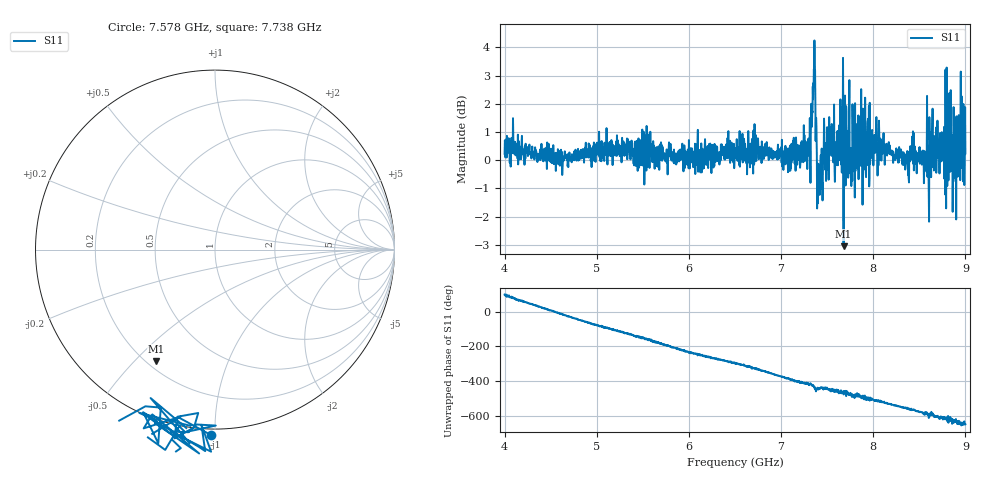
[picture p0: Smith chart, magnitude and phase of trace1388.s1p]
! Created with skrf 1.8.0 (http://scikit-rf.org).
# Hz S RI R 50.0
!freq ReS11 ImS11
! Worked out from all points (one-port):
!   1601 points, 4 GHz to 9 GHz, reference 50 ohm
!   lowest |S11| = -3.1 dB at 7.678 GHz (marker M1), VSWR 5.75, Z = 11.7 - j28.9 ohm
!   |S11| at or under -10 dB: nowhere
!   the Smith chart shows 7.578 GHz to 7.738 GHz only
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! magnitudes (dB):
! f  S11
! 4 GHz  0.2
! 4.625 GHz  -0.5
! 5.25 GHz  0.1
! 5.875 GHz  0.0
! 6.5 GHz  0.3
! 7.125 GHz  0.6
! 7.294 GHz  0.2
! 7.347 GHz  2.2
! 7.362 GHz  4.2
! 7.397 GHz  -1.5
! 7.412 GHz  -0.4
! 7.538 GHz  0.3
! 7.591 GHz  0.6
! 7.65 GHz  1.1
! 7.678 GHz  -3.1
! 7.75 GHz  0.4
! 7.856 GHz  1.1
! 7.909 GHz  0.2
! 7.928 GHz  0.8
! 8.375 GHz  -0.2
! 8.428 GHz  0.0
! 8.581 GHz  0.4
! 8.634 GHz  0.7
! 8.766 GHz  0.8
! 8.819 GHz  2.0
! 8.875 GHz  0.8
! 8.959 GHz  2.3
! 9 GHz  0.2
